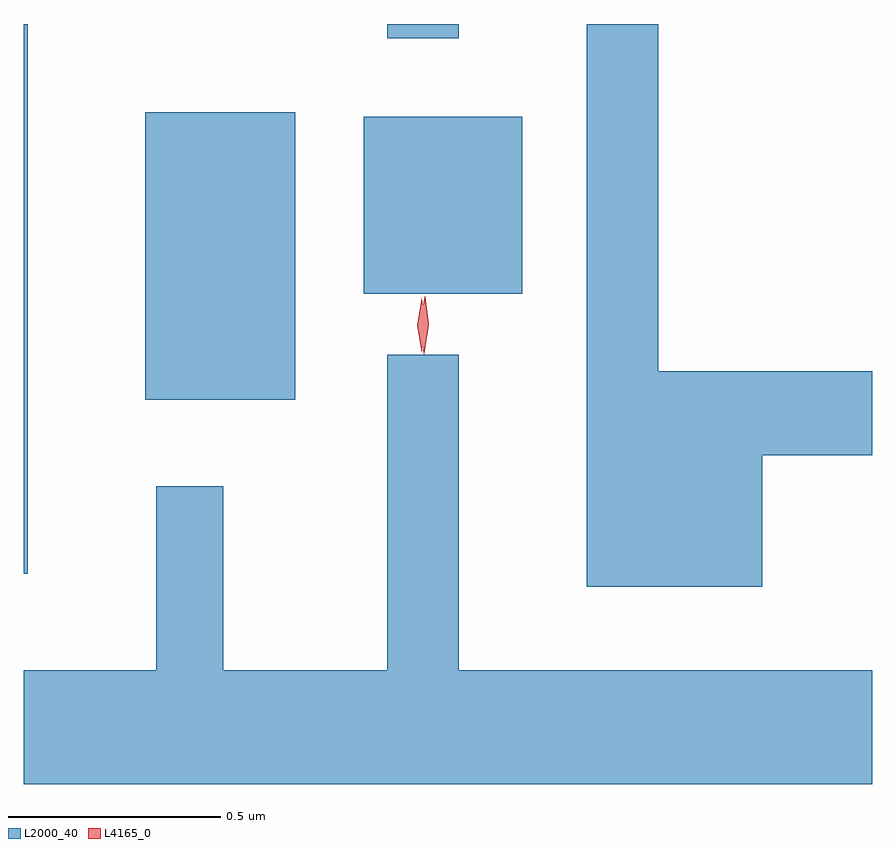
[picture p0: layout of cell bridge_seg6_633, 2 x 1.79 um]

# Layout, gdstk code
import gdstk
lib = gdstk.Library(unit=1e-6, precision=1e-09)
def R(c, l, rs):  # rectangles x0, y0, x1, y1
    for r in rs: c.add(gdstk.rectangle(r[:2], r[2:], *l))
def P(c, l, *ps):  # polygons
    for p in ps: c.add(gdstk.Polygon(p, *l))
L2000_40 = (2000, 40)
L4165_0 = (4165, 0)

bridge_seg6_633 = lib.new_cell('bridge_seg6_633')
R(bridge_seg6_633, L2000_40, [(556.004,1612.691,556.014,1613.987), (556.291,1613.101,556.644,1613.779), (556.806,1613.351,557.179,1613.769), (556.861,1613.953,557.029,1613.987)])
P(bridge_seg6_633, L2000_40, [(557.744,1612.971),(558.004,1612.971),(558.004,1613.169),(557.499,1613.169),(557.499,1613.987),(557.331,1613.987),(557.331,1612.661),(557.744,1612.661)],
  [(558.004,1612.464),(557.029,1612.464),(557.029,1613.208),(556.861,1613.208),(556.861,1612.464),(556.474,1612.464),(556.474,1612.898),(556.316,1612.898),(556.316,1612.464),(556.004,1612.464),(556.004,1612.196),(558.004,1612.196)])
P(bridge_seg6_633, L4165_0, [(556.948,1613.209),(556.947,1613.21),(556.939,1613.278),(556.949,1613.346),(556.95,1613.346),(556.95,1613.346),(556.959,1613.278),(556.948,1613.21)],
  [(556.942,1613.213),(556.942,1613.213),(556.932,1613.277),(556.942,1613.341),(556.942,1613.342),(556.942,1613.341),(556.952,1613.277),(556.942,1613.213)])

lib.write_gds('bridge_seg6_633.gds')
